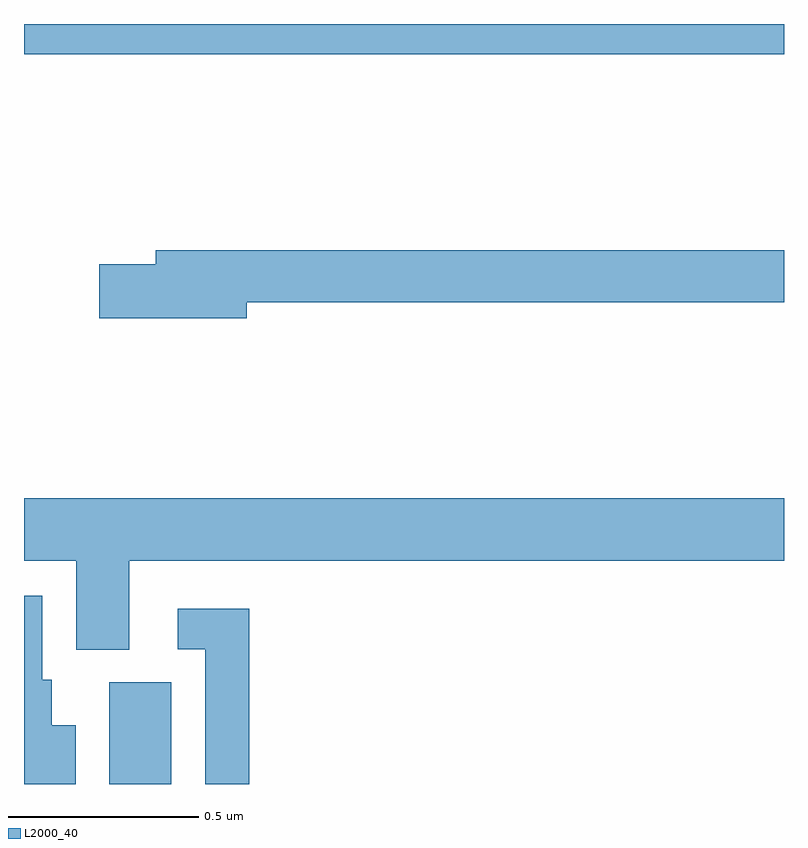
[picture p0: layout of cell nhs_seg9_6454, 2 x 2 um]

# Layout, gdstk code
import gdstk
lib = gdstk.Library(unit=1e-6, precision=1e-09)
def R(c, l, rs):  # rectangles x0, y0, x1, y1
    for r in rs: c.add(gdstk.rectangle(r[:2], r[2:], *l))
def P(c, l, *ps):  # polygons
    for p in ps: c.add(gdstk.Polygon(p, *l))
L2000_40 = (2000, 40)

nhs_seg9_6454 = lib.new_cell('nhs_seg9_6454')
R(nhs_seg9_6454, L2000_40, [(192.224,1194.5,192.388,1194.768), (192,1196.42,194,1196.5)])
P(nhs_seg9_6454, L2000_40, [(192.586,1195.768),(194,1195.768),(194,1195.904),(192.347,1195.904),(192.347,1195.868),(192.198,1195.868),(192.198,1195.726),(192.586,1195.726)],
  [(192.277,1195.088),(194,1195.088),(194,1195.252),(192,1195.252),(192,1195.088),(192.137,1195.088),(192.137,1194.853),(192.277,1194.853)],
  [(192.136,1194.655),(192.073,1194.655),(192.073,1194.774),(192.048,1194.774),(192.048,1194.996),(192,1194.996),(192,1194.5),(192.136,1194.5)],
  [(192.593,1194.961),(192.405,1194.961),(192.405,1194.855),(192.477,1194.855),(192.477,1194.5),(192.593,1194.5)])

lib.write_gds('nhs_seg9_6454.gds')
